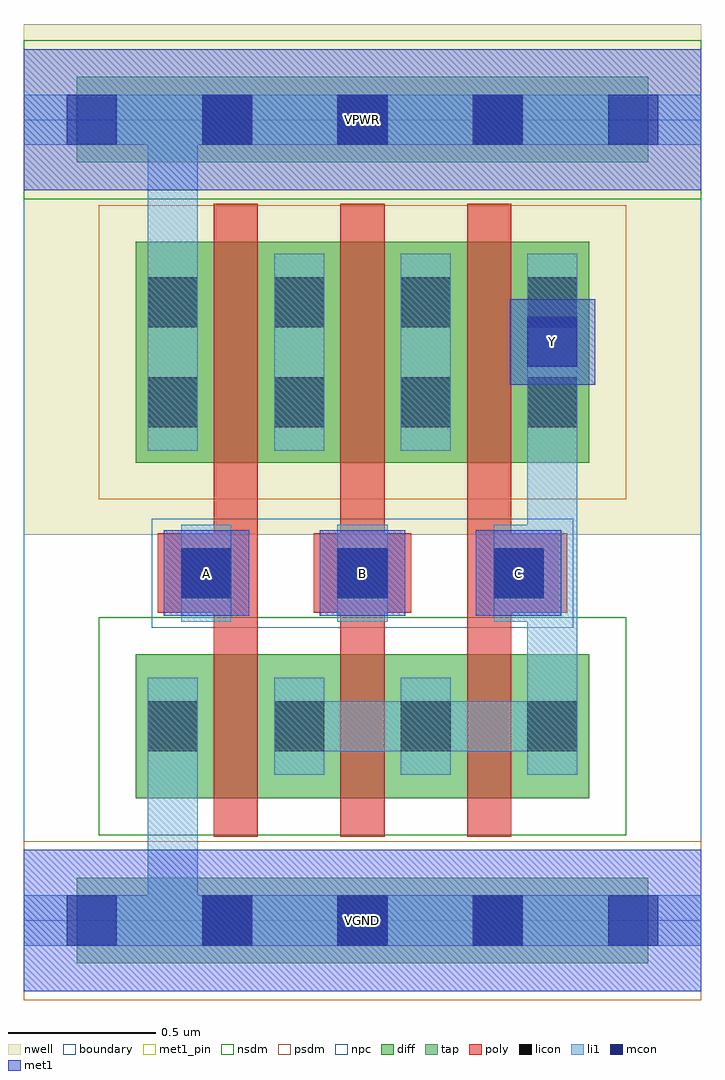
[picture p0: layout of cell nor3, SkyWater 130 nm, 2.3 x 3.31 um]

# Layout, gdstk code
import gdstk
lib = gdstk.Library(unit=1e-6, precision=1e-09)
def R(c, l, rs):  # rectangles x0, y0, x1, y1
    for r in rs: c.add(gdstk.rectangle(r[:2], r[2:], *l))
def A(c, l, x, y, w, h, nx, ny, dx, dy):  # array of equal rectangles
    R(c, l, [(x+i*dx, y+j*dy, x+i*dx+w, y+j*dy+h) for i in range(nx) for j in range(ny)])
nwell = (64, 20)
diff = (65, 20)
tap = (65, 44)
poly = (66, 20)
licon = (66, 44)
li1 = (67, 20)
mcon = (67, 44)
met1_pin = (68, 16)
met1 = (68, 20)
nsdm = (93, 44)
psdm = (94, 20)
npc = (95, 20)
boundary = (235, 4)

nor3 = lib.new_cell('nor3')
R(nor3, nwell, [(0,1.31,2.3,3.045)])
R(nor3, diff, [(0.38,0.415,1.92,0.905), (0.38,1.555,1.92,2.305)])
R(nor3, tap, [(0.18,-0.145,2.12,0.145), (0.18,2.575,2.12,2.865)])
A(nor3, poly, 0.645, 0.285, 0.15, 2.15, 3, 1, 0.43, 0)
A(nor3, poly, 0.455, 1.045, 0.33, 0.27, 3, 1, 0.53, 0)
A(nor3, licon, 0.605, -0.085, 0.17, 0.17, 3, 2, 0.46, 2.72)
A(nor3, licon, 0.42, 0.575, 0.17, 0.17, 4, 2, 0.43, 1.1)
A(nor3, licon, 0.535, 1.095, 0.17, 0.17, 3, 1, 0.53, 0)
A(nor3, licon, 0.42, 2.015, 0.17, 0.17, 4, 1, 0.43, 0)
A(nor3, li1, 0.42, 0.495, 0.17, 0.33, 4, 1, 0.43, 0)
A(nor3, li1, 0.535, 1.015, 0.17, 0.33, 3, 1, 0.53, 0)
A(nor3, li1, 0.42, 1.595, 0.17, 0.67, 4, 1, 0.43, 0)
R(nor3, li1, [(0,-0.085,2.3,0.085), (0.42,-0.085,0.59,0.825), (1.71,0.495,1.88,2.265), (0.85,0.575,1.88,0.745), (0.42,1.595,0.59,2.805), (0,2.635,2.3,2.805)])
A(nor3, mcon, 0.145, -0.085, 0.17, 0.17, 5, 2, 0.46, 2.72)
A(nor3, mcon, 0.535, 1.095, 0.17, 0.17, 3, 1, 0.53, 0)
R(nor3, mcon, [(1.71,1.88,1.88,2.05)])
A(nor3, met1_pin, 0.475, 1.035, 0.29, 0.29, 3, 1, 0.53, 0)
R(nor3, met1_pin, [(0,-0.24,2.3,0.24), (1.65,1.82,1.94,2.11), (0,2.48,2.3,2.96)])
A(nor3, met1, 0.475, 1.035, 0.29, 0.29, 3, 1, 0.53, 0)
R(nor3, met1, [(0,-0.24,2.3,0.24), (1.65,1.82,1.94,2.11), (0,2.48,2.3,2.96)])
R(nor3, nsdm, [(0.255,0.29,2.045,1.03), (0,2.45,2.3,2.99)])
R(nor3, psdm, [(0,-0.27,2.3,0.27), (0.255,1.43,2.045,2.43)])
R(nor3, npc, [(0.435,0.995,1.865,1.365)])
R(nor3, boundary, [(0,0,2.3,2.72)])
nor3.add(gdstk.Label('A', (0.62,1.18), layer=68, texttype=5))
nor3.add(gdstk.Label('B', (1.15,1.18), layer=68, texttype=5))
nor3.add(gdstk.Label('C', (1.68,1.18), layer=68, texttype=5))
nor3.add(gdstk.Label('Y', (1.795,1.965), layer=68, texttype=5))
nor3.add(gdstk.Label('VPWR', (1.15,2.72), layer=68, texttype=5))
nor3.add(gdstk.Label('VGND', (1.15,0), layer=68, texttype=5))
nor3.add(gdstk.Label('A', (0.62,1.18), layer=68, texttype=16))
nor3.add(gdstk.Label('B', (1.15,1.18), layer=68, texttype=16))
nor3.add(gdstk.Label('C', (1.68,1.18), layer=68, texttype=16))
nor3.add(gdstk.Label('Y', (1.795,1.965), layer=68, texttype=16))
nor3.add(gdstk.Label('VPWR', (1.15,2.72), layer=68, texttype=16))
nor3.add(gdstk.Label('VGND', (1.15,0), layer=68, texttype=16))

lib.write_gds('nor3.gds')
